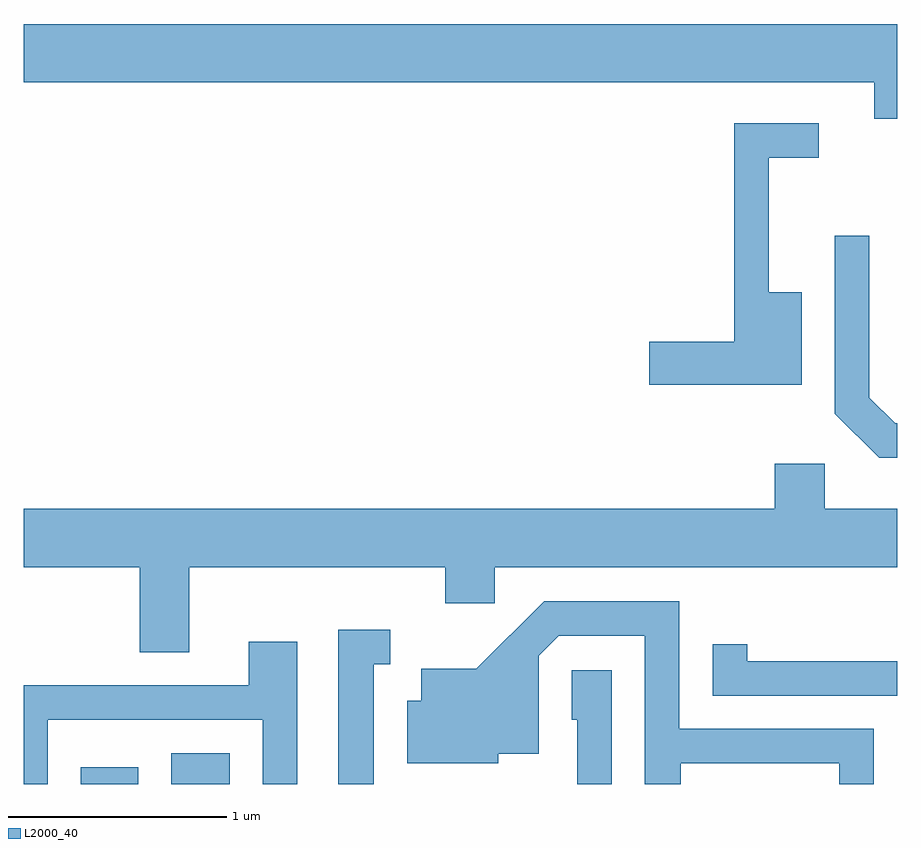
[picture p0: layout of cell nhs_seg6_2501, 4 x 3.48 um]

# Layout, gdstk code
import gdstk
lib = gdstk.Library(unit=1e-6, precision=1e-09)
def R(c, l, rs):  # rectangles x0, y0, x1, y1
    for r in rs: c.add(gdstk.rectangle(r[:2], r[2:], *l))
def P(c, l, *ps):  # polygons
    for p in ps: c.add(gdstk.Polygon(p, *l))
L2000_40 = (2000, 40)

nhs_seg6_2501 = lib.new_cell('nhs_seg6_2501')
R(nhs_seg6_2501, L2000_40, [(261.871,1540.162,262.134,1540.239), (262.286,1540.162,262.554,1540.304)])
P(nhs_seg6_2501, L2000_40, [(265.611,1543.644),(261.611,1543.644),(261.611,1543.376),(265.506,1543.376),(265.506,1543.211),(265.611,1543.211)],
  [(265.174,1542.414),(265.024,1542.414),(265.024,1543.031),(265.253,1543.031),(265.253,1543.189),(264.866,1543.189),(264.866,1542.189),(264.476,1542.189),(264.476,1541.991),(265.174,1541.991)],
  [(265.611,1541.814),(265.602,1541.814),(265.484,1541.932),(265.484,1542.673),(265.326,1542.673),(265.326,1541.859),(265.529,1541.656),(265.611,1541.656)],
  [(262.369,1541.156),(263.541,1541.156),(263.541,1540.991),(263.769,1540.991),(263.769,1541.156),(265.611,1541.156),(265.611,1541.424),(265.279,1541.424),(265.279,1541.629),(265.051,1541.629),(265.051,1541.424),(261.611,1541.424),(261.611,1541.156),(262.141,1541.156),(262.141,1540.766),(262.369,1540.766)],
  [(264.619,1540.256),(265.346,1540.256),(265.346,1540.162),(265.504,1540.162),(265.504,1540.414),(264.614,1540.414),(264.614,1540.999),(263.994,1540.999),(263.684,1540.689),(263.431,1540.689),(263.431,1540.544),(263.366,1540.544),(263.366,1540.256),(263.784,1540.256),(263.784,1540.301),(263.969,1540.301),(263.969,1540.749),(264.062,1540.841),(264.456,1540.841),(264.456,1540.162),(264.619,1540.162)],
  [(263.214,1540.711),(263.288,1540.711),(263.288,1540.869),(263.051,1540.869),(263.051,1540.162),(263.214,1540.162)],
  [(261.719,1540.456),(262.706,1540.456),(262.706,1540.162),(262.864,1540.162),(262.864,1540.814),(262.641,1540.814),(262.641,1540.614),(261.611,1540.614),(261.611,1540.162),(261.719,1540.162)],
  [(265.611,1540.724),(264.924,1540.724),(264.924,1540.803),(264.766,1540.803),(264.766,1540.566),(265.611,1540.566)],
  [(264.304,1540.684),(264.121,1540.684),(264.121,1540.456),(264.146,1540.456),(264.146,1540.162),(264.304,1540.162)])

lib.write_gds('nhs_seg6_2501.gds')
